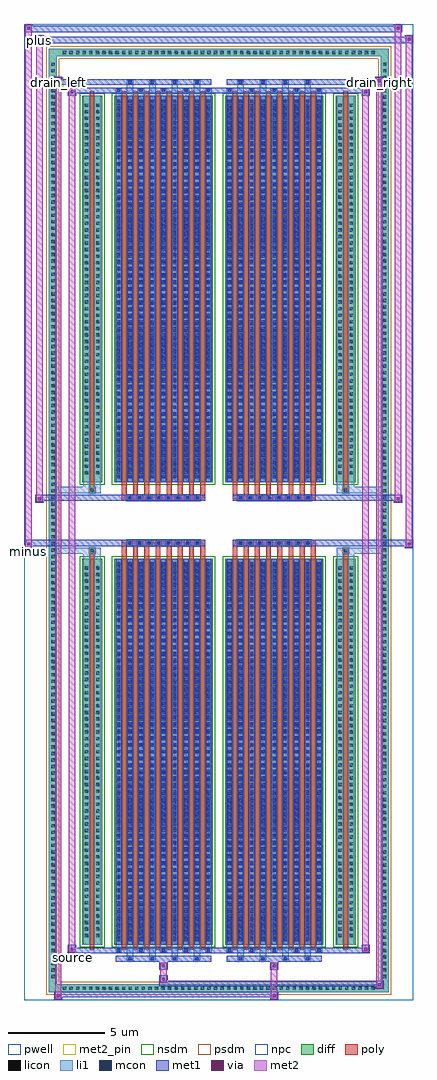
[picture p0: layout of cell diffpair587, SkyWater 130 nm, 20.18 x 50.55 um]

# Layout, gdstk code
import gdstk
lib = gdstk.Library(unit=1e-6, precision=5e-09)
def R(c, l, rs):  # rectangles x0, y0, x1, y1
    for r in rs: c.add(gdstk.rectangle(r[:2], r[2:], *l))
def A(c, l, x, y, w, h, nx, ny, dx, dy):  # array of equal rectangles
    R(c, l, [(x+i*dx, y+j*dy, x+i*dx+w, y+j*dy+h) for i in range(nx) for j in range(ny)])
def P(c, l, *ps):  # polygons
    for p in ps: c.add(gdstk.Polygon(p, *l))
pwell = (64, 44)
diff = (65, 20)
poly = (66, 20)
licon = (66, 44)
li1 = (67, 20)
mcon = (67, 44)
met1 = (68, 20)
via = (68, 44)
met2_pin = (69, 16)
met2 = (69, 20)
nsdm = (93, 44)
psdm = (94, 20)
npc = (95, 20)

diffpair587 = lib.new_cell('diffpair587')
R(diffpair587, pwell, [(-10.07,-24.84,10.07,25.71), (-7.39,-23.03,-0.01,-0.805), (0.01,-23.03,7.39,-0.805), (-7.39,0.805,-0.01,23.03), (0.01,0.805,7.39,23.03)])
A(diffpair587, diff, -8.195, -24.44, 0.41, 0.41, 48, 2, 0.34, 48.47)
A(diffpair587, diff, -8.8, -23.835, 0.41, 0.41, 1, 140, 0, 0.34)
A(diffpair587, diff, 8.39, -23.835, 0.41, 0.41, 1, 140, 0, 0.34)
R(diffpair587, diff, [(-8.195,-24.44,8.195,-24.03), (-8.8,-23.835,-8.39,23.835), (8.39,-23.835,8.8,23.835), (-7.08,-21.985,-6.05,-1.985), (-5.41,-21.985,-0.32,-1.985), (0.32,-21.985,5.41,-1.985), (6.05,-21.985,7.08,-1.985), (-7.08,1.985,-6.05,21.985), (-5.41,1.985,-0.32,21.985), (0.32,1.985,5.41,21.985), (6.05,1.985,7.08,21.985), (-8.195,24.03,8.195,24.44)])
P(diffpair587, diff, [(8.8,24.44),(-8.8,24.44),(-8.8,-24.03),(-8.39,-24.03),(-8.39,24.03),(8.39,24.03),(8.39,-24.03),(-8.39,-24.03),(-8.8,-24.03),(-8.8,-24.44),(8.8,-24.44)])
A(diffpair587, poly, -5.02, -22.235, 0.25, 20.5, 8, 2, 0.58, 23.97)
A(diffpair587, poly, 0.71, -22.235, 0.25, 20.5, 8, 2, 0.58, 23.97)
A(diffpair587, poly, -5.02, -1.735, 0.25, 0.4, 8, 2, 0.58, 3.07)
A(diffpair587, poly, 0.71, -1.735, 0.25, 0.4, 8, 2, 0.58, 3.07)
A(diffpair587, poly, -4.78, -1.335, 0.33, 0.33, 8, 2, 0.5, 2.34)
A(diffpair587, poly, 0.95, -1.335, 0.33, 0.33, 8, 2, 0.5, 2.34)
R(diffpair587, poly, [(-6.69,-22.235,-6.44,-1.735), (6.44,-22.235,6.69,-1.735), (-6.73,-1.735,-6.4,-1.405), (-6.73,-1.735,-6.4,-1.405), (6.4,-1.735,6.73,-1.405), (6.4,-1.735,6.73,-1.405), (-5.02,-1.335,-0.71,-1.005), (0.71,-1.335,5.02,-1.005), (-5.02,1.005,-0.71,1.335), (0.71,1.005,5.02,1.335), (-6.73,1.405,-6.4,1.735), (-6.73,1.405,-6.4,1.735), (6.4,1.405,6.73,1.735), (6.4,1.405,6.73,1.735), (-6.69,1.735,-6.44,22.235), (6.44,1.735,6.69,22.235)])
A(diffpair587, licon, -8.075, -24.32, 0.17, 0.17, 48, 2, 0.34, 48.47)
A(diffpair587, licon, -8.68, -23.715, 0.17, 0.17, 1, 140, 0, 0.34)
A(diffpair587, licon, 8.51, -23.715, 0.17, 0.17, 1, 140, 0, 0.34)
A(diffpair587, licon, -6.94, -21.59, 0.17, 0.17, 1, 57, 0, 0.34)
A(diffpair587, licon, -6.36, -21.59, 0.17, 0.17, 1, 57, 0, 0.34)
A(diffpair587, licon, -5.27, -21.59, 0.17, 0.17, 9, 57, 0.58, 0.34)
A(diffpair587, licon, 0.46, -21.59, 0.17, 0.17, 9, 57, 0.58, 0.34)
A(diffpair587, licon, 6.19, -21.59, 0.17, 0.17, 1, 57, 0, 0.34)
A(diffpair587, licon, 6.77, -21.59, 0.17, 0.17, 1, 57, 0, 0.34)
A(diffpair587, licon, -4.7, -1.255, 0.17, 0.17, 8, 2, 0.5, 2.34)
A(diffpair587, licon, 1.03, -1.255, 0.17, 0.17, 8, 2, 0.5, 2.34)
A(diffpair587, licon, -6.94, 2.38, 0.17, 0.17, 1, 57, 0, 0.34)
A(diffpair587, licon, -6.36, 2.38, 0.17, 0.17, 1, 57, 0, 0.34)
A(diffpair587, licon, -5.27, 2.38, 0.17, 0.17, 9, 57, 0.58, 0.34)
A(diffpair587, licon, 0.46, 2.38, 0.17, 0.17, 9, 57, 0.58, 0.34)
A(diffpair587, licon, 6.19, 2.38, 0.17, 0.17, 1, 57, 0, 0.34)
A(diffpair587, licon, 6.77, 2.38, 0.17, 0.17, 1, 57, 0, 0.34)
R(diffpair587, licon, [(-6.65,-1.655,-6.48,-1.485), (6.48,-1.655,6.65,-1.485), (-6.65,1.485,-6.48,1.655), (6.48,1.485,6.65,1.655)])
A(diffpair587, li1, -8.155, -24.4, 0.33, 0.33, 48, 2, 0.34, 48.47)
A(diffpair587, li1, -8.76, -23.795, 0.33, 0.33, 1, 140, 0, 0.34)
A(diffpair587, li1, 8.43, -23.795, 0.33, 0.33, 1, 140, 0, 0.34)
A(diffpair587, li1, -4.77, -22.79, 0.33, 0.805, 4, 2, 1.16, 44.775)
A(diffpair587, li1, -4.69, -22.79, 0.17, 0.17, 4, 2, 1.16, 45.41)
A(diffpair587, li1, 0.96, -22.79, 0.33, 0.805, 4, 2, 1.16, 44.775)
A(diffpair587, li1, 1.04, -22.79, 0.17, 0.17, 4, 2, 1.16, 45.41)
A(diffpair587, li1, -5.35, -22.36, 0.33, 0.375, 5, 2, 1.16, 44.345)
A(diffpair587, li1, -5.27, -22.36, 0.17, 0.17, 5, 2, 1.16, 44.55)
A(diffpair587, li1, 0.38, -22.36, 0.33, 0.375, 5, 2, 1.16, 44.345)
A(diffpair587, li1, 0.46, -22.36, 0.17, 0.17, 5, 2, 1.16, 44.55)
A(diffpair587, li1, -5.35, -21.985, 0.33, 20, 9, 2, 0.58, 23.97)
A(diffpair587, li1, 0.38, -21.985, 0.33, 20, 9, 2, 0.58, 23.97)
A(diffpair587, li1, -5.27, -21.79, 0.17, 0.17, 9, 55, 0.58, 0.36)
A(diffpair587, li1, -5.27, -21.79, 0.17, 19.61, 9, 2, 0.58, 23.97)
A(diffpair587, li1, 0.46, -21.79, 0.17, 0.17, 9, 55, 0.58, 0.36)
A(diffpair587, li1, 0.46, -21.79, 0.17, 19.61, 9, 2, 0.58, 23.97)
A(diffpair587, li1, -7.02, -21.67, 0.33, 0.33, 1, 57, 0, 0.34)
A(diffpair587, li1, -6.44, -21.67, 0.33, 0.33, 1, 57, 0, 0.34)
A(diffpair587, li1, -5.35, -21.67, 0.33, 0.33, 9, 57, 0.58, 0.34)
A(diffpair587, li1, 0.38, -21.67, 0.33, 0.33, 9, 57, 0.58, 0.34)
A(diffpair587, li1, 6.11, -21.67, 0.33, 0.33, 1, 57, 0, 0.34)
A(diffpair587, li1, 6.69, -21.67, 0.33, 0.33, 1, 57, 0, 0.34)
A(diffpair587, li1, -4.78, -1.335, 0.33, 0.33, 8, 2, 0.5, 2.34)
A(diffpair587, li1, 0.95, -1.335, 0.33, 0.33, 8, 2, 0.5, 2.34)
A(diffpair587, li1, -5.27, 2.18, 0.17, 0.17, 9, 55, 0.58, 0.36)
A(diffpair587, li1, 0.46, 2.18, 0.17, 0.17, 9, 55, 0.58, 0.36)
A(diffpair587, li1, -7.02, 2.3, 0.33, 0.33, 1, 57, 0, 0.34)
A(diffpair587, li1, -6.44, 2.3, 0.33, 0.33, 1, 57, 0, 0.34)
A(diffpair587, li1, -5.35, 2.3, 0.33, 0.33, 9, 57, 0.58, 0.34)
A(diffpair587, li1, 0.38, 2.3, 0.33, 0.33, 9, 57, 0.58, 0.34)
A(diffpair587, li1, 6.11, 2.3, 0.33, 0.33, 1, 57, 0, 0.34)
A(diffpair587, li1, 6.69, 2.3, 0.33, 0.33, 1, 57, 0, 0.34)
R(diffpair587, li1, [(-8.8,-24.44,-8.39,-24.03), (-8.8,-24.44,-8.39,-24.03), (-8.39,-24.44,8.39,-24.03), (8.39,-24.44,8.8,-24.03), (8.39,-24.44,8.8,-24.03), (-8.8,-24.03,-8.39,24.03), (8.39,-24.03,8.8,24.03), (-7.02,-21.985,-6.69,-1.985), (-6.44,-21.985,-6.11,-1.985), (6.11,-21.985,6.44,-1.985), (6.69,-21.985,7.02,-1.985), (-7.02,-1.985,-6.69,-1.405), (-6.44,-1.985,-6.11,-1.405), (6.11,-1.985,6.44,-1.405), (6.69,-1.985,7.02,-1.405), (-8.8,-1.735,-6.73,-1.405), (-7.02,-1.735,-6.73,-1.405), (-6.73,-1.735,-6.4,-1.405), (-6.4,-1.735,-6.11,-1.405), (6.11,-1.735,6.4,-1.405), (6.4,-1.735,6.73,-1.405), (6.4,-1.735,8.8,-1.405), (6.73,-1.735,7.02,-1.405), (-8.8,1.405,-6.73,1.735), (-7.02,1.405,-6.73,1.735), (-7.02,1.405,-6.69,1.985), (-6.73,1.405,-6.4,1.735), (-6.44,1.405,-6.11,1.985), (-6.4,1.405,-6.11,1.735), (6.11,1.405,6.4,1.735), (6.11,1.405,6.44,1.985), (6.4,1.405,6.73,1.735), (6.4,1.405,8.8,1.735), (6.69,1.405,7.02,1.985), (6.73,1.405,7.02,1.735), (-7.02,1.985,-6.69,21.985), (-6.44,1.985,-6.11,21.985), (6.11,1.985,6.44,21.985), (6.69,1.985,7.02,21.985), (-8.8,24.03,-8.39,24.44), (-8.8,24.03,-8.39,24.44), (-8.39,24.03,8.39,24.44), (8.39,24.03,8.8,24.44), (8.39,24.03,8.8,24.44)])
A(diffpair587, mcon, -4.69, -22.79, 0.17, 0.17, 4, 2, 1.16, 45.41)
A(diffpair587, mcon, 1.04, -22.79, 0.17, 0.17, 4, 2, 1.16, 45.41)
A(diffpair587, mcon, -5.27, -22.36, 0.17, 0.17, 5, 2, 1.16, 44.55)
A(diffpair587, mcon, 0.46, -22.36, 0.17, 0.17, 5, 2, 1.16, 44.55)
A(diffpair587, mcon, -5.27, -21.79, 0.17, 0.17, 9, 55, 0.58, 0.36)
A(diffpair587, mcon, 0.46, -21.79, 0.17, 0.17, 9, 55, 0.58, 0.36)
A(diffpair587, mcon, -4.7, -1.255, 0.17, 0.17, 8, 2, 0.5, 2.34)
A(diffpair587, mcon, 1.03, -1.255, 0.17, 0.17, 8, 2, 0.5, 2.34)
A(diffpair587, mcon, -5.27, 2.18, 0.17, 0.17, 9, 55, 0.58, 0.36)
A(diffpair587, mcon, 0.46, 2.18, 0.17, 0.17, 9, 55, 0.58, 0.36)
A(diffpair587, met1, -4.75, -22.85, 0.29, 0.29, 4, 2, 1.16, 45.41)
A(diffpair587, met1, 0.98, -22.85, 0.29, 0.29, 4, 2, 1.16, 45.41)
A(diffpair587, met1, -5.33, -22.42, 0.29, 0.29, 5, 2, 1.16, 44.55)
A(diffpair587, met1, 0.4, -22.42, 0.29, 0.29, 5, 2, 1.16, 44.55)
A(diffpair587, met1, -5.33, -21.985, 0.29, 20, 9, 2, 0.58, 23.97)
A(diffpair587, met1, 0.4, -21.985, 0.29, 20, 9, 2, 0.58, 23.97)
A(diffpair587, met1, -5.33, -21.85, 0.29, 0.29, 9, 55, 0.58, 0.36)
A(diffpair587, met1, 0.4, -21.85, 0.29, 0.29, 9, 55, 0.58, 0.36)
A(diffpair587, met1, -4.76, -1.315, 0.29, 0.29, 8, 2, 0.5, 2.34)
A(diffpair587, met1, 0.97, -1.315, 0.29, 0.29, 8, 2, 0.5, 2.34)
A(diffpair587, met1, -5.33, 2.12, 0.29, 0.29, 9, 55, 0.58, 0.36)
A(diffpair587, met1, 0.4, 2.12, 0.29, 0.29, 9, 55, 0.58, 0.36)
R(diffpair587, met1, [(-8.53,-24.84,-8.1,-24.41), (2.65,-24.84,3.08,-24.41), (-8.53,-24.7,3.08,-24.41), (8.1,-24.27,8.53,-23.84), (-3.08,-24.13,8.53,-23.84), (-3.08,-23.99,-2.65,-23.56), (-3.08,-23.28,-2.65,-22.85), (2.65,-23.28,3.08,-22.85), (-5.33,-22.85,-0.4,-22.56), (0.4,-22.85,5.33,-22.56), (-7.82,-22.42,-7.39,-21.99), (-7.82,-22.42,-5.33,-22.13), (-5.33,-22.42,-0.4,-22.13), (-0.4,-22.42,0.4,-22.13), (0.4,-22.42,5.33,-22.13), (5.33,-22.42,7.82,-22.13), (7.39,-22.42,7.82,-21.99), (-10.07,-1.435,-9.64,-1.005), (9.64,-1.435,10.07,-1.005), (-10.07,-1.335,-0.71,-1.005), (-5.02,-1.335,-0.71,-1.005), (0.71,-1.335,5.02,-1.005), (0.71,-1.335,10.07,-1.005), (-9.5,0.905,-9.07,1.335), (9.07,0.905,9.5,1.335), (-9.5,1.005,-5.02,1.335), (-5.02,1.005,-0.71,1.335), (0.71,1.005,5.02,1.335), (5.02,1.005,9.5,1.335), (-7.82,21.99,-7.39,22.42), (7.39,21.99,7.82,22.42), (-7.82,22.13,-5.33,22.42), (-5.33,22.13,-0.4,22.42), (-0.4,22.13,0.4,22.42), (0.4,22.13,5.33,22.42), (5.33,22.13,7.82,22.42), (-8.53,22.56,-8.1,22.99), (-8.53,22.56,-5.33,22.85), (-5.33,22.56,-0.4,22.85), (0.4,22.56,5.33,22.85), (5.33,22.56,8.53,22.85), (8.1,22.56,8.53,22.99), (-9.5,24.71,-9.07,25.14), (-9.5,24.71,-7.39,25.04), (-7.39,24.71,7.39,25.04), (7.39,24.71,10.07,25.04), (9.64,24.71,10.07,25.14), (-10.07,25.28,-9.64,25.71), (-10.07,25.28,-7.39,25.61), (-7.39,25.28,7.39,25.61), (7.39,25.28,9.5,25.61), (9.07,25.28,9.5,25.71)])
R(diffpair587, via, [(-8.39,-24.7,-8.24,-24.55), (2.79,-24.7,2.94,-24.55), (8.24,-24.13,8.39,-23.98), (-2.94,-23.85,-2.79,-23.7), (-2.94,-23.14,-2.79,-22.99), (2.79,-23.14,2.94,-22.99), (-7.68,-22.28,-7.53,-22.13), (7.53,-22.28,7.68,-22.13), (-9.93,-1.295,-9.78,-1.145), (9.78,-1.295,9.93,-1.145), (-9.36,1.045,-9.21,1.195), (9.21,1.045,9.36,1.195), (-7.68,22.13,-7.53,22.28), (7.53,22.13,7.68,22.28), (-8.39,22.7,-8.24,22.85), (8.24,22.7,8.39,22.85), (-9.36,24.85,-9.21,25), (9.78,24.85,9.93,25), (-9.93,25.42,-9.78,25.57), (9.21,25.42,9.36,25.57)])
R(diffpair587, met2_pin, [(-7.855,-22.87,-7.355,-22.37), (-10.105,-1.885,-9.605,-1.385), (-8.565,22.44,-8.065,22.94), (8.065,22.44,8.565,22.94), (-9.535,24.59,-9.035,25.09)])
R(diffpair587, met2, [(-8.48,-24.79,-8.15,-24.46), (-8.48,-24.79,-8.15,22.94), (2.7,-24.79,3.03,-24.46), (2.7,-24.46,3.03,-23.23), (8.15,-24.22,8.48,-23.89), (8.15,-24.22,8.48,22.94), (-3.03,-23.94,-2.7,-23.61), (-3.03,-23.61,-2.7,-23.23), (-3.03,-23.23,-2.7,-22.9), (2.7,-23.23,3.03,-22.9), (-7.77,-22.37,-7.44,-22.04), (-7.77,-22.37,-7.44,22.37), (7.44,-22.37,7.77,-22.04), (7.44,-22.37,7.77,22.37), (-10.02,-1.385,-9.69,-1.055), (-10.02,-1.385,-9.69,25.66), (9.69,-1.385,10.02,-1.055), (9.69,-1.385,10.02,25.09), (-9.45,0.955,-9.12,1.285), (-9.45,0.955,-9.12,25.09), (9.12,0.955,9.45,1.285), (9.12,0.955,9.45,25.66), (-7.77,22.04,-7.44,22.37), (7.44,22.04,7.77,22.37), (-8.48,22.61,-8.15,22.94), (8.15,22.61,8.48,22.94), (-9.45,24.76,-9.12,25.09), (9.69,24.76,10.02,25.09), (-10.02,25.33,-9.69,25.66), (9.12,25.33,9.45,25.66)])
P(diffpair587, met2, [(10.02,-1.385),(10.02,-1.385),(10.02,-1.055),(10.02,-1.055)],
  [(10.02,24.76),(10.02,24.76),(10.02,25.09),(10.02,25.09)],
  [(-9.69,-1.385),(-9.69,-1.385),(-9.69,-1.055),(-9.69,-1.055)],
  [(-9.69,25.33),(-9.69,25.33),(-9.69,25.66),(-9.69,25.66)],
  [(9.45,0.955),(9.45,0.955),(9.45,1.285),(9.45,1.285)],
  [(9.45,25.33),(9.45,25.33),(9.45,25.66),(9.45,25.66)],
  [(-9.12,0.955),(-9.12,0.955),(-9.12,1.285),(-9.12,1.285)],
  [(-9.12,24.76),(-9.12,24.76),(-9.12,25.09),(-9.12,25.09)],
  [(-8.15,-24.79),(-8.15,-24.79),(-8.15,-24.46),(-8.15,-24.46)],
  [(-8.15,22.61),(-8.15,22.61),(-8.15,22.94),(-8.15,22.94)],
  [(8.48,-24.22),(8.48,-24.22),(8.48,-23.89),(8.48,-23.89)],
  [(8.48,22.61),(8.48,22.61),(8.48,22.94),(8.48,22.94)],
  [(-7.44,-22.37),(-7.44,-22.37),(-7.44,-22.04),(-7.44,-22.04)],
  [(-7.44,22.04),(-7.44,22.04),(-7.44,22.37),(-7.44,22.37)],
  [(7.77,-22.37),(7.77,-22.37),(7.77,-22.04),(7.77,-22.04)],
  [(7.77,22.04),(7.77,22.04),(7.77,22.37),(7.77,22.37)])
R(diffpair587, nsdm, [(-7.21,-22.115,-5.92,-1.855), (-5.54,-22.115,-0.19,-1.855), (0.19,-22.115,5.54,-1.855), (5.92,-22.115,7.21,-1.855), (-7.21,1.855,-5.92,22.115), (-5.54,1.855,-0.19,22.115), (0.19,1.855,5.54,22.115), (5.92,1.855,7.21,22.115)])
P(diffpair587, psdm, [(8.93,24.57),(-8.93,24.57),(-8.93,-23.9),(-8.26,-23.9),(-8.26,23.9),(8.26,23.9),(8.26,-23.9),(-8.26,-23.9),(-8.93,-23.9),(-8.93,-24.57),(8.93,-24.57)])
A(diffpair587, npc, -4.8, -1.355, 0.37, 0.37, 8, 2, 0.5, 2.34)
A(diffpair587, npc, 0.93, -1.355, 0.37, 0.37, 8, 2, 0.5, 2.34)
R(diffpair587, npc, [(-6.75,-1.755,-6.38,-1.385), (6.38,-1.755,6.75,-1.385), (-4.8,-1.355,-3.93,-0.985), (-4.8,-1.355,-3.93,-0.985), (-4.3,-1.355,-3.43,-0.985), (-4.3,-1.355,-3.43,-0.985), (-3.8,-1.355,-2.93,-0.985), (-3.8,-1.355,-2.93,-0.985), (-3.3,-1.355,-2.43,-0.985), (-3.3,-1.355,-2.43,-0.985), (-2.8,-1.355,-1.93,-0.985), (-2.8,-1.355,-1.93,-0.985), (-2.3,-1.355,-1.43,-0.985), (-2.3,-1.355,-1.43,-0.985), (-1.8,-1.355,-0.93,-0.985), (-1.8,-1.355,-0.93,-0.985), (0.93,-1.355,1.8,-0.985), (0.93,-1.355,1.8,-0.985), (1.43,-1.355,2.3,-0.985), (1.43,-1.355,2.3,-0.985), (1.93,-1.355,2.8,-0.985), (1.93,-1.355,2.8,-0.985), (2.43,-1.355,3.3,-0.985), (2.43,-1.355,3.3,-0.985), (2.93,-1.355,3.8,-0.985), (2.93,-1.355,3.8,-0.985), (3.43,-1.355,4.3,-0.985), (3.43,-1.355,4.3,-0.985), (3.93,-1.355,4.8,-0.985), (3.93,-1.355,4.8,-0.985), (-4.8,0.985,-3.93,1.355), (-4.8,0.985,-3.93,1.355), (-4.3,0.985,-3.43,1.355), (-4.3,0.985,-3.43,1.355), (-3.8,0.985,-2.93,1.355), (-3.8,0.985,-2.93,1.355), (-3.3,0.985,-2.43,1.355), (-3.3,0.985,-2.43,1.355), (-2.8,0.985,-1.93,1.355), (-2.8,0.985,-1.93,1.355), (-2.3,0.985,-1.43,1.355), (-2.3,0.985,-1.43,1.355), (-1.8,0.985,-0.93,1.355), (-1.8,0.985,-0.93,1.355), (0.93,0.985,1.8,1.355), (0.93,0.985,1.8,1.355), (1.43,0.985,2.3,1.355), (1.43,0.985,2.3,1.355), (1.93,0.985,2.8,1.355), (1.93,0.985,2.8,1.355), (2.43,0.985,3.3,1.355), (2.43,0.985,3.3,1.355), (2.93,0.985,3.8,1.355), (2.93,0.985,3.8,1.355), (3.43,0.985,4.3,1.355), (3.43,0.985,4.3,1.355), (3.93,0.985,4.8,1.355), (3.93,0.985,4.8,1.355), (-6.75,1.385,-6.38,1.755), (6.38,1.385,6.75,1.755)])
diffpair587.add(gdstk.Label('minus', (-9.855,-1.635), layer=69, texttype=5))
diffpair587.add(gdstk.Label('drain_right', (8.315,22.69), layer=69, texttype=5))
diffpair587.add(gdstk.Label('drain_left', (-8.315,22.69), layer=69, texttype=5))
diffpair587.add(gdstk.Label('source', (-7.605,-22.62), layer=69, texttype=5))
diffpair587.add(gdstk.Label('plus', (-9.285,24.84), layer=69, texttype=5))

lib.write_gds('diffpair587.gds')
